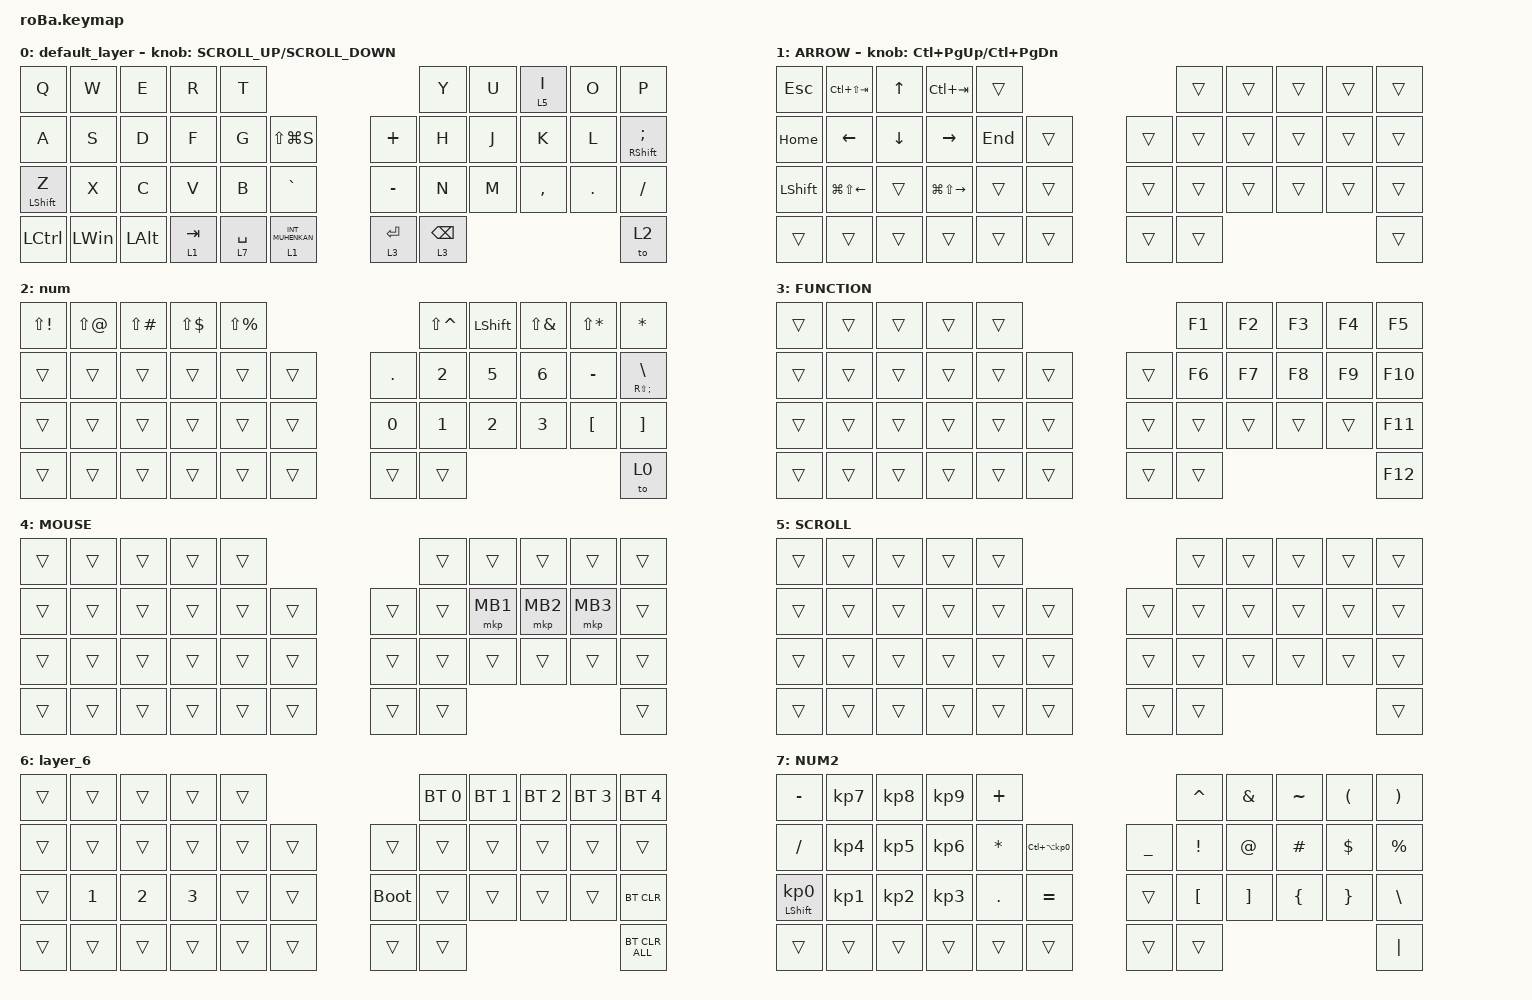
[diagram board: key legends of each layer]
#include <behaviors.dtsi>
#include <dt-bindings/zmk/bt.h>
#include <dt-bindings/zmk/keys.h>
#include <dt-bindings/zmk/mouse.h>

#define MOUSE 4
#define SCROLL 5
#define NUM 6

&mt {
    flavor = "balanced";
    quick-tap-ms = <0>;
};

/ {
    combos {
        compatible = "zmk,combos";

        tab {
            bindings = <&kp TAB>;
            key-positions = <11 12>;
        };

        shift_tab {
            bindings = <&kp LS(TAB)>;
            key-positions = <12 13>;
        };

        muhennkann {
            bindings = <&to_layer_0 INT_MUHENKAN>;
            key-positions = <11 10>;
        };

        double_quotation {
            bindings = <&kp DOUBLE_QUOTES>;
            key-positions = <20 21>;
        };

        eq {
            bindings = <&kp EQUAL>;
            key-positions = <24 25>;
        };
    };

    macros {
        to_layer_0: to_layer_0 {
            compatible = "zmk,behavior-macro-one-param";
            #binding-cells = <1>;
            bindings = <&to 0 &macro_param_1to1 &kp MACRO_PLACEHOLDER>;
            label = "TO_LAYER_0";
        };
    };

    behaviors {
        lt_to_layer_0: lt_to_layer_0 {
            compatible = "zmk,behavior-hold-tap";
            label = "LAYER_TAP_TO_0";
            bindings = <&mo>, <&to_layer_0>;

            #binding-cells = <2>;
            tapping-term-ms = <200>;
        };
    };

    keymap {
        compatible = "zmk,keymap";

        default_layer {
            bindings = <
&kp Q             &kp W         &kp E         &kp R                 &kp T                                                      &kp Y            &kp U  &lt 5 I    &kp O    &kp P
&kp A             &kp S         &kp D         &kp F                 &kp G        &kp LS(LG(S))                    &kp PLUS     &kp H            &kp J  &kp K      &kp L    &mt RIGHT_SHIFT SEMICOLON
&mt LEFT_SHIFT Z  &kp X         &kp C         &kp V                 &kp B        &kp GRAVE                        &kp MINUS    &kp N            &kp M  &kp COMMA  &kp DOT  &kp SLASH
&kp LCTRL         &kp LEFT_WIN  &kp LEFT_ALT  &lt_to_layer_0 1 TAB  &lt 7 SPACE  &lt_to_layer_0 1 INT_MUHENKAN    &lt 3 ENTER  &lt 3 BACKSPACE                             &to 2
            >;

            sensor-bindings = <&inc_dec_kp K_SCROLL_UP K_SCROLL_DOWN>;
        };

        ARROW {
            bindings = <
&kp ESCAPE      &kp LC(LS(TAB))         &kp UP_ARROW    &kp LC(TAB)              &trans                     &trans  &trans  &trans  &trans  &trans
&kp HOME        &kp LEFT_ARROW          &kp DOWN_ARROW  &kp RIGHT_ARROW          &kp END  &trans    &trans  &trans  &trans  &trans  &trans  &trans
&kp LEFT_SHIFT  &kp LG(LS(LEFT_ARROW))  &trans          &kp LG(LS(RIGHT_ARROW))  &trans   &trans    &trans  &trans  &trans  &trans  &trans  &trans
&trans          &trans                  &trans          &trans                   &trans   &trans    &trans  &trans                          &trans
            >;

            sensor-bindings = <&inc_dec_kp LC(PAGE_UP) LC(PAGE_DOWN)>;
        };

        num {
            bindings = <
&kp LS(EXCL)  &kp LS(AT)  &kp LS(POUND)  &kp LS(DLLR)  &kp LS(PRCNT)                        &kp LS(CARET)  &kp LSHFT  &kp LS(AMPS)  &kp LS(STAR)      &kp STAR
&trans        &trans      &trans         &trans        &trans         &trans    &kp PERIOD  &kp N2         &kp N5     &kp N6        &kp MINUS         &mt RS(SEMICOLON) BACKSLASH
&trans        &trans      &trans         &trans        &trans         &trans    &kp N0      &kp N1         &kp N2     &kp N3        &kp LEFT_BRACKET  &kp RIGHT_BRACKET
&trans        &trans      &trans         &trans        &trans         &trans    &trans      &trans                                                    &to 0
            >;
        };

        FUNCTION {
            bindings = <
&trans  &trans  &trans  &trans  &trans                    &kp F1  &kp F2  &kp F3  &kp F4  &kp F5
&trans  &trans  &trans  &trans  &trans  &trans    &trans  &kp F6  &kp F7  &kp F8  &kp F9  &kp F10
&trans  &trans  &trans  &trans  &trans  &trans    &trans  &trans  &trans  &trans  &trans  &kp F11
&trans  &trans  &trans  &trans  &trans  &trans    &trans  &trans                          &kp F12
            >;
        };

        MOUSE {
            bindings = <
&trans  &trans  &trans  &trans  &trans                    &trans  &trans    &trans    &trans    &trans
&trans  &trans  &trans  &trans  &trans  &trans    &trans  &trans  &mkp MB1  &mkp MB2  &mkp MB3  &trans
&trans  &trans  &trans  &trans  &trans  &trans    &trans  &trans  &trans    &trans    &trans    &trans
&trans  &trans  &trans  &trans  &trans  &trans    &trans  &trans                                &trans
            >;
        };

        SCROLL {
            bindings = <
&trans  &trans  &trans  &trans  &trans                    &trans  &trans  &trans  &trans  &trans
&trans  &trans  &trans  &trans  &trans  &trans    &trans  &trans  &trans  &trans  &trans  &trans
&trans  &trans  &trans  &trans  &trans  &trans    &trans  &trans  &trans  &trans  &trans  &trans
&trans  &trans  &trans  &trans  &trans  &trans    &trans  &trans                          &trans
            >;
        };

        layer_6 {
            bindings = <
&trans  &trans        &trans        &trans        &trans                         &bt BT_SEL 0  &bt BT_SEL 1  &bt BT_SEL 2  &bt BT_SEL 3  &bt BT_SEL 4
&trans  &trans        &trans        &trans        &trans  &trans    &trans       &trans        &trans        &trans        &trans        &trans
&trans  &kp NUMBER_1  &kp NUMBER_2  &kp NUMBER_3  &trans  &trans    &bootloader  &trans        &trans        &trans        &trans        &bt BT_CLR
&trans  &trans        &trans        &trans        &trans  &trans    &trans       &trans                                                  &bt BT_CLR_ALL
            >;
        };

        NUM2 {
            bindings = <
&kp MINUS                   &kp KP_NUMBER_7  &kp KP_NUMBER_8  &kp KP_NUMBER_9  &kp PLUS                                                 &kp CARET         &kp AMPERSAND      &kp TILDE       &kp LEFT_PARENTHESIS  &kp RIGHT_PARENTHESIS
&kp SLASH                   &kp KP_NUMBER_4  &kp KP_NUMBER_5  &kp KP_NUMBER_6  &kp ASTERISK  &kp LC(LA(KP_NUMBER_0))    &kp UNDERSCORE  &kp EXCLAMATION   &kp AT_SIGN        &kp HASH        &kp DOLLAR            &kp PERCENT
&mt LEFT_SHIFT KP_NUMBER_0  &kp KP_NUMBER_1  &kp KP_NUMBER_2  &kp KP_NUMBER_3  &kp PERIOD    &kp EQUAL                  &trans          &kp LEFT_BRACKET  &kp RIGHT_BRACKET  &kp LEFT_BRACE  &kp RIGHT_BRACE       &kp BACKSLASH
&trans                      &trans           &trans           &trans           &trans        &trans                     &trans          &trans                                                                     &kp PIPE
            >;
        };
    };
};
